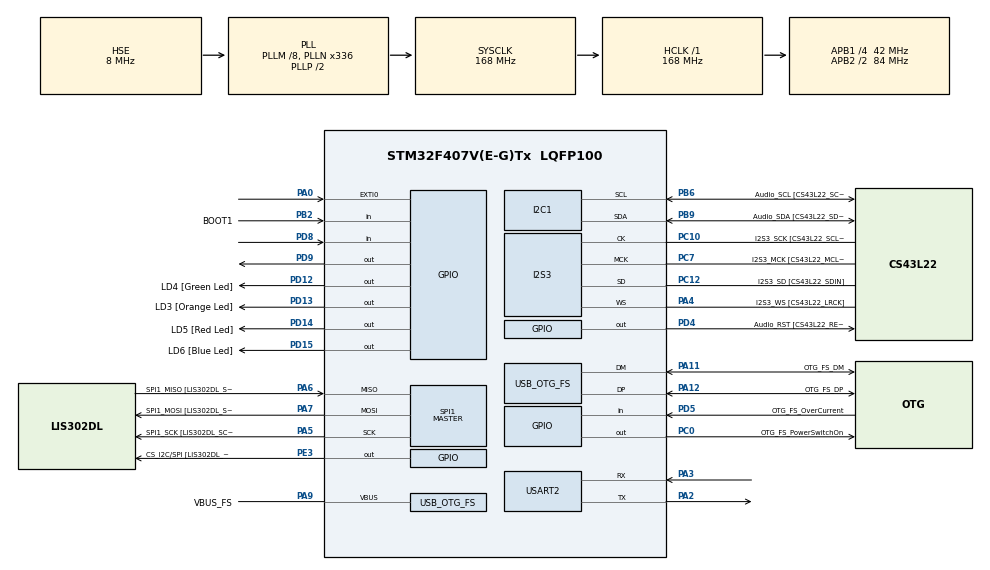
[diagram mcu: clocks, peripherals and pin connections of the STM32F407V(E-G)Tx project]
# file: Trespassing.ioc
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I2S3.AudioFreq-Half_Duplex_Master=I2S_AUDIOFREQ_96K
I2S3.ErrorAudioFreq=-2.34 %
I2S3.ErrorAudioFreq-Half_Duplex_Master=0.8 %
I2S3.FullDuplexMode=I2S_FULLDUPLEXMODE_DISABLE
I2S3.Instance=SPI$Index
I2S3.RealAudioFreq=93.75 KHz
I2S3.RealAudioFreq-Half_Duplex_Master=96.774 KHz
I2S3.VirtualMode=I2S_MODE_MASTER
Mcu.Family=STM32F4
Mcu.Name=STM32F407V(E-G)Tx
Mcu.Package=LQFP100
NVIC.EXTI0_IRQn=true\:0\:0\:false\:false\:true\:true
NVIC.OTG_FS_IRQn=true\:0\:0\:false\:false\:true\:true
NVIC.PriorityGroup=NVIC_PRIORITYGROUP_0
PA0-WKUP.Signal=GPXTI0
PA10.GPIO_Label=OTG_FS_ID
PA10.GPIO_Mode=GPIO_MODE_AF_PP
PA10.GPIO_PuPd=GPIO_NOPULL
PA10.GPIO_Speed=GPIO_SPEED_FREQ_LOW
PA10.Signal=USB_OTG_FS_ID
PA11.GPIO_Label=OTG_FS_DM
PA11.GPIO_Mode=GPIO_MODE_AF_PP
PA11.GPIO_PuPd=GPIO_NOPULL
PA11.GPIO_Speed=GPIO_SPEED_FREQ_LOW
PA11.Mode=Host_Only
PA11.Signal=USB_OTG_FS_DM
PA12.GPIO_Label=OTG_FS_DP
PA12.GPIO_Mode=GPIO_MODE_AF_PP
PA12.GPIO_PuPd=GPIO_NOPULL
PA12.GPIO_Speed=GPIO_SPEED_FREQ_LOW
PA12.Mode=Host_Only
PA12.Signal=USB_OTG_FS_DP
PA13.GPIO_Label=SWDIO
PA13.Mode=Serial_Wire
PA13.Signal=SYS_JTMS-SWDIO
PA14.GPIO_Label=SWCLK
PA14.Mode=Serial_Wire
PA14.Signal=SYS_JTCK-SWCLK
PA2.Mode=Asynchronous
PA2.Signal=USART2_TX
PA3.Mode=Asynchronous
PA3.Signal=USART2_RX
PA4.GPIO_Label=I2S3_WS [CS43L22_LRCK]
PA4.GPIO_Mode=GPIO_MODE_AF_PP
PA4.GPIO_PuPd=GPIO_NOPULL
PA4.GPIO_Speed=GPIO_SPEED_FREQ_LOW
PA4.Mode=Half_Duplex_Master
PA4.Signal=I2S3_WS
PA5.GPIO_Label=SPI1_SCK [LIS302DL_SCL/SPC]
PA5.GPIO_Mode=GPIO_MODE_AF_PP
PA5.GPIO_PuPd=GPIO_NOPULL
PA5.GPIO_Speed=GPIO_SPEED_FREQ_LOW
PA5.Mode=Full_Duplex_Master
PA5.Signal=SPI1_SCK
PA6.GPIO_Label=SPI1_MISO [LIS302DL_SDO]
PA6.GPIO_Mode=GPIO_MODE_AF_PP
PA6.GPIO_PuPd=GPIO_NOPULL
PA6.GPIO_Speed=GPIO_SPEED_FREQ_LOW
PA6.Mode=Full_Duplex_Master
PA6.Signal=SPI1_MISO
PA7.GPIO_Label=SPI1_MOSI [LIS302DL_SDA/SDI/SDO]
PA7.GPIO_Mode=GPIO_MODE_AF_PP
PA7.GPIO_PuPd=GPIO_NOPULL
PA7.GPIO_Speed=GPIO_SPEED_FREQ_LOW
PA7.Mode=Full_Duplex_Master
PA7.Signal=SPI1_MOSI
PA9.GPIO_Label=VBUS_FS
PA9.GPIO_Mode=GPIO_MODE_INPUT
PA9.GPIO_PuPd=GPIO_NOPULL
PA9.Mode=Activate_VBUS
PA9.Signal=USB_OTG_FS_VBUS
PB10.GPIO_Label=CLK_IN [MP45DT02_CLK]
PB10.GPIO_Mode=GPIO_MODE_AF_PP
PB10.GPIO_PuPd=GPIO_NOPULL
PB10.GPIO_Speed=GPIO_SPEED_FREQ_LOW
PB10.Signal=I2S2_CK
PB2.GPIO_Label=BOOT1
PB2.GPIO_Mode=GPIO_MODE_INPUT
PB2.GPIO_PuPd=GPIO_NOPULL
PB2.Signal=GPIO_Input
PB3.GPIO_Label=SWO
PB3.Signal=SYS_JTDO-SWO
PB6.GPIO_Label=Audio_SCL [CS43L22_SCL]
PB6.GPIO_Mode=GPIO_MODE_AF_OD
PB6.GPIO_PuPd=GPIO_NOPULL
PB6.GPIO_Speed=GPIO_SPEED_FREQ_LOW
PB6.Mode=I2C
PB6.Signal=I2C1_SCL
PB9.GPIO_Label=Audio_SDA [CS43L22_SDA]
PB9.GPIO_Mode=GPIO_MODE_AF_OD
PB9.GPIO_PuPd=GPIO_NOPULL
PB9.GPIO_Speed=GPIO_SPEED_FREQ_LOW
PB9.Mode=I2C
PB9.Signal=I2C1_SDA
PC0.GPIO_Label=OTG_FS_PowerSwitchOn
PC0.GPIO_PuPd=GPIO_NOPULL
PC0.GPIO_Speed=GPIO_SPEED_FREQ_LOW
PC0.PinState=GPIO_PIN_SET
PC0.Signal=GPIO_Output
PC10.GPIO_Label=I2S3_SCK [CS43L22_SCLK]
PC10.GPIO_Mode=GPIO_MODE_AF_PP
PC10.GPIO_PuPd=GPIO_NOPULL
PC10.GPIO_Speed=GPIO_SPEED_FREQ_LOW
PC10.Mode=Half_Duplex_Master
PC10.Signal=I2S3_CK
PC12.GPIO_Label=I2S3_SD [CS43L22_SDIN]
PC12.GPIO_Mode=GPIO_MODE_AF_PP
PC12.GPIO_PuPd=GPIO_NOPULL
PC12.GPIO_Speed=GPIO_SPEED_FREQ_LOW
PC12.Mode=Half_Duplex_Master
PC12.Signal=I2S3_SD
PC14-OSC32_IN.GPIO_Label=PC14-OSC32_IN
PC14-OSC32_IN.Mode=LSE-External-Oscillator
PC14-OSC32_IN.Signal=RCC_OSC32_IN
PC15-OSC32_OUT.GPIO_Label=PC15-OSC32_OUT
PC15-OSC32_OUT.Mode=LSE-External-Oscillator
PC15-OSC32_OUT.Signal=RCC_OSC32_OUT
PC3.GPIO_Label=PDM_OUT [MP45DT02_DOUT]
PC3.GPIO_Mode=GPIO_MODE_AF_PP
PC3.GPIO_PuPd=GPIO_NOPULL
PC3.GPIO_Speed=GPIO_SPEED_FREQ_LOW
PC3.Signal=I2S2_SD
PC7.GPIO_Label=I2S3_MCK [CS43L22_MCLK]
PC7.GPIO_Mode=GPIO_MODE_AF_PP
PC7.GPIO_PuPd=GPIO_NOPULL
PC7.GPIO_Speed=GPIO_SPEED_FREQ_LOW
PC7.Mode=Master_Clock_Activated
PC7.Signal=I2S3_MCK
PD12.GPIO_Label=LD4 [Green Led]
PD12.GPIO_PuPd=GPIO_NOPULL
PD12.GPIO_Speed=GPIO_SPEED_FREQ_LOW
PD12.Signal=GPIO_Output
PD13.GPIO_Label=LD3 [Orange Led]
PD13.GPIO_PuPd=GPIO_NOPULL
PD13.GPIO_Speed=GPIO_SPEED_FREQ_LOW
PD13.Signal=GPIO_Output
PD14.GPIO_Label=LD5 [Red Led]
PD14.GPIO_PuPd=GPIO_NOPULL
PD14.GPIO_Speed=GPIO_SPEED_FREQ_LOW
PD14.Signal=GPIO_Output
PD15.GPIO_Label=LD6 [Blue Led]
PD15.GPIO_PuPd=GPIO_NOPULL
PD15.GPIO_Speed=GPIO_SPEED_FREQ_LOW
PD15.Signal=GPIO_Output
PD4.GPIO_Label=Audio_RST [CS43L22_RESET]
PD4.GPIO_PuPd=GPIO_NOPULL
PD4.GPIO_Speed=GPIO_SPEED_FREQ_LOW
PD4.Signal=GPIO_Output
PD5.GPIO_Label=OTG_FS_OverCurrent
PD5.GPIO_Mode=GPIO_MODE_INPUT
PD5.GPIO_PuPd=GPIO_NOPULL
PD5.Signal=GPIO_Input
PD8.Signal=GPIO_Input
PD9.Signal=GPIO_Output
PE3.GPIO_Label=CS_I2C/SPI [LIS302DL_CS_I2C/SPI]
PE3.GPIO_PuPd=GPIO_NOPULL
PE3.GPIO_Speed=GPIO_SPEED_FREQ_LOW
PE3.Signal=GPIO_Output
PH0-OSC_IN.GPIO_Label=PH0-OSC_IN
PH0-OSC_IN.Mode=HSE-External-Oscillator
PH0-OSC_IN.Signal=RCC_OSC_IN
PH1-OSC_OUT.GPIO_Label=PH1-OSC_OUT
PH1-OSC_OUT.Mode=HSE-External-Oscillator
PH1-OSC_OUT.Signal=RCC_OSC_OUT
ProjectManager.HeapSize=0x200
ProjectManager.StackSize=0x400
ProjectManager.TargetToolchain=SW4STM32
RCC.48MHZClocksFreq_Value=48000000
RCC.AHBFreq_Value=168000000
RCC.APB1CLKDivider=RCC_HCLK_DIV4
RCC.APB1Freq_Value=42000000
RCC.APB1TimFreq_Value=84000000
RCC.APB2CLKDivider=RCC_HCLK_DIV2
RCC.APB2Freq_Value=84000000
RCC.APB2TimFreq_Value=168000000
RCC.CortexFreq_Value=168000000
RCC.HCLKFreq_Value=168000000
RCC.HSE_VALUE=8000000
RCC.HSI_VALUE=16000000
RCC.PLLM=8
RCC.PLLN=336
RCC.PLLQ=7
RCC.SYSCLKFreq_VALUE=168000000
RCC.SYSCLKSource=RCC_SYSCLKSOURCE_PLLCLK
RCC.VCOOutputFreq_Value=336000000
SPI1.BaudRatePrescaler-Full_Duplex_Master=SPI_BAUDRATEPRESCALER_2
SPI1.CalculateBaudRate-Full_Duplex_Master=42.0 MBits/s
SPI1.Direction=SPI_DIRECTION_2LINES
SPI1.Mode=SPI_MODE_MASTER
SPI1.Mode-Full_Duplex_Master=SPI_MODE_MASTER
SPI1.VirtualType=VM_MASTER
USART2.VirtualMode=VM_ASYNC
USB_HOST.BSP.number=1
USB_HOST.USBH_HandleTypeDef-CDC_FS=hUsbHostFS
USB_HOST.VirtualModeFS=Cdc
USB_HOST0.BSP.STBoard=false
USB_HOST0.BSP.api=Unknown
USB_HOST0.BSP.i2caddr=0
USB_HOST0.BSP.i2creg=0
USB_HOST0.BSP.instance=PC0
USB_HOST0.BSP.ip=GPIO
USB_HOST0.BSP.mode=Output
USB_HOST0.BSP.name=Drive_VBUS_FS
USB_HOST0.BSP.solution=PC0
USB_OTG_FS.VirtualMode=Host_Only
USB_OTG_FS.phy_itface=HCD_PHY_EMBEDDED
VP_USB_HOST_VS_USB_HOST_CDC_FS.Mode=CDC_FS
board=STM32F4DISCOVERY

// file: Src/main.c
/**
  ******************************************************************************
  * @file           : main.c
  * @brief          : Main program body
  ******************************************************************************
  * This notice applies to any and all portions of this file
  * that are not between comment pairs USER CODE BEGIN and
  * USER CODE END. Other portions of this file, whether
  * inserted by the user or by software development tools
  * are owned by their respective copyright owners.
  *
  * Copyright (c) 2018 STMicroelectronics International N.V.
  * All rights reserved.
  *
  * Redistribution and use in source and binary forms, with or without
  * modification, are permitted, provided that the following conditions are met:
  *
  * 1. Redistribution of source code must retain the above copyright notice,
  *    this list of conditions and the following disclaimer.
  * 2. Redistributions in binary form must reproduce the above copyright notice,
  *    this list of conditions and the following disclaimer in the documentation
  *    and/or other materials provided with the distribution.
  * 3. Neither the name of STMicroelectronics nor the names of other
  *    contributors to this software may be used to endorse or promote products
  *    derived from this software without specific written permission.
  * 4. This software, including modifications and/or derivative works of this
  *    software, must execute solely and exclusively on microcontroller or
  *    microprocessor devices manufactured by or for STMicroelectronics.
  * 5. Redistribution and use of this software other than as permitted under
  *    this license is void and will automatically terminate your rights under
  *    this license.
  *
  * THIS SOFTWARE IS PROVIDED BY STMICROELECTRONICS AND CONTRIBUTORS "AS IS"
  * AND ANY EXPRESS, IMPLIED OR STATUTORY WARRANTIES, INCLUDING, BUT NOT
  * LIMITED TO, THE IMPLIED WARRANTIES OF MERCHANTABILITY, FITNESS FOR A
  * PARTICULAR PURPOSE AND NON-INFRINGEMENT OF THIRD PARTY INTELLECTUAL PROPERTY
  * RIGHTS ARE DISCLAIMED TO THE FULLEST EXTENT PERMITTED BY LAW. IN NO EVENT
  * SHALL STMICROELECTRONICS OR CONTRIBUTORS BE LIABLE FOR ANY DIRECT, INDIRECT,
  * INCIDENTAL, SPECIAL, EXEMPLARY, OR CONSEQUENTIAL DAMAGES (INCLUDING, BUT NOT
  * LIMITED TO, PROCUREMENT OF SUBSTITUTE GOODS OR SERVICES; LOSS OF USE, DATA,
  * OR PROFITS; OR BUSINESS INTERRUPTION) HOWEVER CAUSED AND ON ANY THEORY OF
  * LIABILITY, WHETHER IN CONTRACT, STRICT LIABILITY, OR TORT (INCLUDING
  * NEGLIGENCE OR OTHERWISE) ARISING IN ANY WAY OUT OF THE USE OF THIS SOFTWARE,
  * EVEN IF ADVISED OF THE POSSIBILITY OF SUCH DAMAGE.
  *
  ******************************************************************************
  */
#include "main.h"
#include "stm32f4xx_hal.h"
#include "usb_host.h"

I2C_HandleTypeDef hi2c1;

I2S_HandleTypeDef hi2s3;

SPI_HandleTypeDef hspi1;

UART_HandleTypeDef huart2;

/* USER CODE BEGIN PV */
/* Private variables ---------------------------------------------------------*/
uint32_t threshold;
uint32_t lowerBound;

/* USER CODE END PV */

void SystemClock_Config(void);
static void MX_GPIO_Init(void);
static void MX_I2C1_Init(void);
static void MX_I2S3_Init(void);
static void MX_SPI1_Init(void);
static void MX_USART2_UART_Init(void);
void MX_USB_HOST_Process(void);

/* USER CODE BEGIN PFP */
/* Private function prototypes -----------------------------------------------*/

/* USER CODE END PFP */

/* USER CODE BEGIN 0 */
void delayUS_DWT(uint32_t us){
	volatile uint32_t cycles = (SystemCoreClock/1000000L)*us;
	volatile uint32_t start = DWT->CYCCNT;
	do{
	}while(DWT->CYCCNT - start < cycles);
}
uint32_t Read_Time(void)
{
		        __IO uint8_t flag=0;
	 	        __IO uint32_t disTime=0;
	 	    HAL_GPIO_WritePin(GPIOD,GPIO_PIN_9,GPIO_PIN_SET);
	 		delayUS_DWT(2);
	 		HAL_GPIO_WritePin(GPIOD,GPIO_PIN_9,GPIO_PIN_RESET);
	 		delayUS_DWT(2);
		while(flag == 0)
		{
			while(HAL_GPIO_ReadPin(GPIOD,GPIO_PIN_8) == 1)
			{
				 disTime++; //+1000 Because of micro
				 flag = 1;
				 delayUS_DWT(1);
			}

		}
	 		return disTime;
}
void Set_Threshold(void){
		//char msg[100]={"\0"};
		//sprintf(msg,"Stabilizing...\r\n");
		//HAL_UART_Transmit(&huart2,msg,sizeof(msg),50);
		uint32_t summation = 0;
		HAL_GPIO_TogglePin(GPIOD,GPIO_PIN_15);
		HAL_Delay(5000); //Make sensor stable
		//sprintf(msg,"Setting...\r\n");
		//HAL_UART_Transmit(&huart2,msg,sizeof(msg),50);
		HAL_GPIO_TogglePin(GPIOD,GPIO_PIN_14);
		for(int i = 0;i<20;i++){
			summation += Read_Time();
			HAL_Delay(250);
		}
		uint32_t avg = summation/20;
		avg = avg*(120);//20% threshold
		threshold = avg/100;
		lowerBound = summation/20;
		lowerBound = lowerBound*75;
		lowerBound = lowerBound/100;
		HAL_GPIO_TogglePin(GPIOD,GPIO_PIN_14);
		HAL_GPIO_TogglePin(GPIOD,GPIO_PIN_15);
		//sprintf(msg,"%dSet up complete...\r\n",threshold);
		//HAL_UART_Transmit(&huart2,msg,sizeof(msg),50);

}
void HAL_GPIO_EXTI_Callback(uint16_t GPIO_Pin){
	Set_Threshold();
}
/* USER CODE END 0 */

int main(void)
{

  /* MCU Configuration----------------------------------------------------------*/

  /* Reset of all peripherals, Initializes the Flash interface and the Systick. */
  HAL_Init();

  /* Configure the system clock */
  SystemClock_Config();

  /* Initialize all configured peripherals */
  MX_GPIO_Init();
  MX_I2C1_Init();
  MX_I2S3_Init();
  MX_SPI1_Init();
  MX_USB_HOST_Init();
  MX_USART2_UART_Init();

  /* Infinite loop */
  /* USER CODE BEGIN WHILE */
  HAL_GPIO_WritePin(GPIOD,GPIO_PIN_12,0);
  HAL_GPIO_WritePin(GPIOD,GPIO_PIN_15,0);
  HAL_GPIO_WritePin(GPIOD,GPIO_PIN_14,0);
  HAL_GPIO_WritePin(GPIOD,GPIO_PIN_13,0);

  //float distance;
  uint32_t i;
  uint32_t timeDuration=0;

  Set_Threshold();//Set threshold
  //uint32_t threshold=14000;
  while (1)
  {
	  char earth[100]={"\0"};
  /* USER CODE END WHILE */
    MX_USB_HOST_Process();

  /* USER CODE BEGIN 3 */
    i = Read_Time();
    //distance = (float)i * 0.0171821;

    if(i>threshold || i<lowerBound){
        HAL_GPIO_TogglePin(GPIOD,GPIO_PIN_12);
        HAL_Delay(250);
        HAL_GPIO_TogglePin(GPIOD,GPIO_PIN_12);
        timeDuration++;
    }
    else{
    	HAL_Delay(250);
    	//TODO addFunction Send Duration to NodeMCU and timeStamp(or stamp the time at nodeMCU)
    	if(timeDuration>0){
    		sprintf(earth,"%d\r\n",1+timeDuration/4);
    		HAL_UART_Transmit(&huart2,earth,sizeof(earth),50); //send to nodeMCU
    	}
    	timeDuration=0;
    }
    //HAL_UART_Transmit(&huart2,i,sizeof(i),50);
    //setBit=0;
    //TODO delete when the project is done
    //sprintf(earth,"%d\r\n",i);
    //HAL_UART_Transmit(&huart2,earth,sizeof(earth),50);

  }
  /* USER CODE END 3 */

}

void SystemClock_Config(void)
{

  RCC_OscInitTypeDef RCC_OscInitStruct;
  RCC_ClkInitTypeDef RCC_ClkInitStruct;
  RCC_PeriphCLKInitTypeDef PeriphClkInitStruct;

    /**Configure the main internal regulator output voltage
    */
  __HAL_RCC_PWR_CLK_ENABLE();

  __HAL_PWR_VOLTAGESCALING_CONFIG(PWR_REGULATOR_VOLTAGE_SCALE1);

    /**Initializes the CPU, AHB and APB busses clocks
    */
  RCC_OscInitStruct.OscillatorType = RCC_OSCILLATORTYPE_HSE;
  RCC_OscInitStruct.HSEState = RCC_HSE_ON;
  RCC_OscInitStruct.PLL.PLLState = RCC_PLL_ON;
  RCC_OscInitStruct.PLL.PLLSource = RCC_PLLSOURCE_HSE;
  RCC_OscInitStruct.PLL.PLLM = 8;
  RCC_OscInitStruct.PLL.PLLN = 336;
  RCC_OscInitStruct.PLL.PLLP = RCC_PLLP_DIV2;
  RCC_OscInitStruct.PLL.PLLQ = 7;
  if (HAL_RCC_OscConfig(&RCC_OscInitStruct) != HAL_OK)
  {
    _Error_Handler(__FILE__, __LINE__);
  }

    /**Initializes the CPU, AHB and APB busses clocks
    */
  RCC_ClkInitStruct.ClockType = RCC_CLOCKTYPE_HCLK|RCC_CLOCKTYPE_SYSCLK
                              |RCC_CLOCKTYPE_PCLK1|RCC_CLOCKTYPE_PCLK2;
  RCC_ClkInitStruct.SYSCLKSource = RCC_SYSCLKSOURCE_PLLCLK;
  RCC_ClkInitStruct.AHBCLKDivider = RCC_SYSCLK_DIV1;
  RCC_ClkInitStruct.APB1CLKDivider = RCC_HCLK_DIV4;
  RCC_ClkInitStruct.APB2CLKDivider = RCC_HCLK_DIV2;

  if (HAL_RCC_ClockConfig(&RCC_ClkInitStruct, FLASH_LATENCY_5) != HAL_OK)
  {
    _Error_Handler(__FILE__, __LINE__);
  }

  PeriphClkInitStruct.PeriphClockSelection = RCC_PERIPHCLK_I2S;
  PeriphClkInitStruct.PLLI2S.PLLI2SN = 192;
  PeriphClkInitStruct.PLLI2S.PLLI2SR = 2;
  if (HAL_RCCEx_PeriphCLKConfig(&PeriphClkInitStruct) != HAL_OK)
  {
    _Error_Handler(__FILE__, __LINE__);
  }

    /**Configure the Systick interrupt time
    */
  HAL_SYSTICK_Config(HAL_RCC_GetHCLKFreq()/1000);

    /**Configure the Systick
    */
  HAL_SYSTICK_CLKSourceConfig(SYSTICK_CLKSOURCE_HCLK);

  /* SysTick_IRQn interrupt configuration */
  HAL_NVIC_SetPriority(SysTick_IRQn, 0, 0);
}

/* I2C1 init function */
static void MX_I2C1_Init(void)
{

  hi2c1.Instance = I2C1;
  hi2c1.Init.ClockSpeed = 100000;
  hi2c1.Init.DutyCycle = I2C_DUTYCYCLE_2;
  hi2c1.Init.OwnAddress1 = 0;
  hi2c1.Init.AddressingMode = I2C_ADDRESSINGMODE_7BIT;
  hi2c1.Init.DualAddressMode = I2C_DUALADDRESS_DISABLE;
  hi2c1.Init.OwnAddress2 = 0;
  hi2c1.Init.GeneralCallMode = I2C_GENERALCALL_DISABLE;
  hi2c1.Init.NoStretchMode = I2C_NOSTRETCH_DISABLE;
  if (HAL_I2C_Init(&hi2c1) != HAL_OK)
  {
    _Error_Handler(__FILE__, __LINE__);
  }

}

/* I2S3 init function */
static void MX_I2S3_Init(void)
{

  hi2s3.Instance = SPI3;
  hi2s3.Init.Mode = I2S_MODE_MASTER_TX;
  hi2s3.Init.Standard = I2S_STANDARD_PHILIPS;
  hi2s3.Init.DataFormat = I2S_DATAFORMAT_16B;
  hi2s3.Init.MCLKOutput = I2S_MCLKOUTPUT_ENABLE;
  hi2s3.Init.AudioFreq = I2S_AUDIOFREQ_96K;
  hi2s3.Init.CPOL = I2S_CPOL_LOW;
  hi2s3.Init.ClockSource = I2S_CLOCK_PLL;
  hi2s3.Init.FullDuplexMode = I2S_FULLDUPLEXMODE_DISABLE;
  if (HAL_I2S_Init(&hi2s3) != HAL_OK)
  {
    _Error_Handler(__FILE__, __LINE__);
  }

}

/* SPI1 init function */
static void MX_SPI1_Init(void)
{

  /* SPI1 parameter configuration*/
  hspi1.Instance = SPI1;
  hspi1.Init.Mode = SPI_MODE_MASTER;
  hspi1.Init.Direction = SPI_DIRECTION_2LINES;
  hspi1.Init.DataSize = SPI_DATASIZE_8BIT;
  hspi1.Init.CLKPolarity = SPI_POLARITY_LOW;
  hspi1.Init.CLKPhase = SPI_PHASE_1EDGE;
  hspi1.Init.NSS = SPI_NSS_SOFT;
  hspi1.Init.BaudRatePrescaler = SPI_BAUDRATEPRESCALER_2;
  hspi1.Init.FirstBit = SPI_FIRSTBIT_MSB;
  hspi1.Init.TIMode = SPI_TIMODE_DISABLE;
  hspi1.Init.CRCCalculation = SPI_CRCCALCULATION_DISABLE;
  hspi1.Init.CRCPolynomial = 10;
  if (HAL_SPI_Init(&hspi1) != HAL_OK)
  {
    _Error_Handler(__FILE__, __LINE__);
  }

}

/* USART2 init function */
static void MX_USART2_UART_Init(void)
{

  huart2.Instance = USART2;
  huart2.Init.BaudRate = 115200;
  huart2.Init.WordLength = UART_WORDLENGTH_8B;
  huart2.Init.StopBits = UART_STOPBITS_1;
  huart2.Init.Parity = UART_PARITY_NONE;
  huart2.Init.Mode = UART_MODE_TX_RX;
  huart2.Init.HwFlowCtl = UART_HWCONTROL_NONE;
  huart2.Init.OverSampling = UART_OVERSAMPLING_16;
  if (HAL_UART_Init(&huart2) != HAL_OK)
  {
    _Error_Handler(__FILE__, __LINE__);
  }

}

/** Configure pins as
        * Analog
        * Input
        * Output
        * EVENT_OUT
        * EXTI
     PC3   ------> I2S2_SD
     PB10   ------> I2S2_CK
*/
static void MX_GPIO_Init(void)
{

  GPIO_InitTypeDef GPIO_InitStruct;

  /* GPIO Ports Clock Enable */
  __HAL_RCC_GPIOE_CLK_ENABLE();
  __HAL_RCC_GPIOC_CLK_ENABLE();
  __HAL_RCC_GPIOH_CLK_ENABLE();
  __HAL_RCC_GPIOA_CLK_ENABLE();
  __HAL_RCC_GPIOB_CLK_ENABLE();
  __HAL_RCC_GPIOD_CLK_ENABLE();

  /*Configure GPIO pin Output Level */
  HAL_GPIO_WritePin(CS_I2C_SPI_GPIO_Port, CS_I2C_SPI_Pin, GPIO_PIN_RESET);

  /*Configure GPIO pin Output Level */
  HAL_GPIO_WritePin(OTG_FS_PowerSwitchOn_GPIO_Port, OTG_FS_PowerSwitchOn_Pin, GPIO_PIN_SET);

  /*Configure GPIO pin Output Level */
  HAL_GPIO_WritePin(GPIOD, GPIO_PIN_9|LD4_Pin|LD3_Pin|LD5_Pin
                          |LD6_Pin|Audio_RST_Pin, GPIO_PIN_RESET);

  /*Configure GPIO pin : CS_I2C_SPI_Pin */
  GPIO_InitStruct.Pin = CS_I2C_SPI_Pin;
  GPIO_InitStruct.Mode = GPIO_MODE_OUTPUT_PP;
  GPIO_InitStruct.Pull = GPIO_NOPULL;
  GPIO_InitStruct.Speed = GPIO_SPEED_FREQ_LOW;
  HAL_GPIO_Init(CS_I2C_SPI_GPIO_Port, &GPIO_InitStruct);

  /*Configure GPIO pin : OTG_FS_PowerSwitchOn_Pin */
  GPIO_InitStruct.Pin = OTG_FS_PowerSwitchOn_Pin;
  GPIO_InitStruct.Mode = GPIO_MODE_OUTPUT_PP;
  GPIO_InitStruct.Pull = GPIO_NOPULL;
  GPIO_InitStruct.Speed = GPIO_SPEED_FREQ_LOW;
  HAL_GPIO_Init(OTG_FS_PowerSwitchOn_GPIO_Port, &GPIO_InitStruct);

  /*Configure GPIO pin : PDM_OUT_Pin */
  GPIO_InitStruct.Pin = PDM_OUT_Pin;
  GPIO_InitStruct.Mode = GPIO_MODE_AF_PP;
  GPIO_InitStruct.Pull = GPIO_NOPULL;
  GPIO_InitStruct.Speed = GPIO_SPEED_FREQ_LOW;
  GPIO_InitStruct.Alternate = GPIO_AF5_SPI2;
  HAL_GPIO_Init(PDM_OUT_GPIO_Port, &GPIO_InitStruct);

  /*Configure GPIO pin : PA0 */
  GPIO_InitStruct.Pin = GPIO_PIN_0;
  GPIO_InitStruct.Mode = GPIO_MODE_IT_RISING;
  GPIO_InitStruct.Pull = GPIO_NOPULL;
  HAL_GPIO_Init(GPIOA, &GPIO_InitStruct);

  /*Configure GPIO pin : BOOT1_Pin */
  GPIO_InitStruct.Pin = BOOT1_Pin;
  GPIO_InitStruct.Mode = GPIO_MODE_INPUT;
  GPIO_InitStruct.Pull = GPIO_NOPULL;
  HAL_GPIO_Init(BOOT1_GPIO_Port, &GPIO_InitStruct);

  /*Configure GPIO pin : CLK_IN_Pin */
  GPIO_InitStruct.Pin = CLK_IN_Pin;
  GPIO_InitStruct.Mode = GPIO_MODE_AF_PP;
  GPIO_InitStruct.Pull = GPIO_NOPULL;
  GPIO_InitStruct.Speed = GPIO_SPEED_FREQ_LOW;
  GPIO_InitStruct.Alternate = GPIO_AF5_SPI2;
  HAL_GPIO_Init(CLK_IN_GPIO_Port, &GPIO_InitStruct);

  /*Configure GPIO pins : PD8 OTG_FS_OverCurrent_Pin */
  GPIO_InitStruct.Pin = GPIO_PIN_8|OTG_FS_OverCurrent_Pin;
  GPIO_InitStruct.Mode = GPIO_MODE_INPUT;
  GPIO_InitStruct.Pull = GPIO_NOPULL;
  HAL_GPIO_Init(GPIOD, &GPIO_InitStruct);

  /*Configure GPIO pins : PD9 LD4_Pin LD3_Pin LD5_Pin
                           LD6_Pin Audio_RST_Pin */
  GPIO_InitStruct.Pin = GPIO_PIN_9|LD4_Pin|LD3_Pin|LD5_Pin
                          |LD6_Pin|Audio_RST_Pin;
  GPIO_InitStruct.Mode = GPIO_MODE_OUTPUT_PP;
  GPIO_InitStruct.Pull = GPIO_NOPULL;
  GPIO_InitStruct.Speed = GPIO_SPEED_FREQ_LOW;
  HAL_GPIO_Init(GPIOD, &GPIO_InitStruct);

  /* EXTI interrupt init*/
  HAL_NVIC_SetPriority(EXTI0_IRQn, 0, 0);
  HAL_NVIC_EnableIRQ(EXTI0_IRQn);

}

void _Error_Handler(char *file, int line)
{
  while(1)
  {
  }
}

/************************ (C) COPYRIGHT STMicroelectronics *****END OF FILE****/
